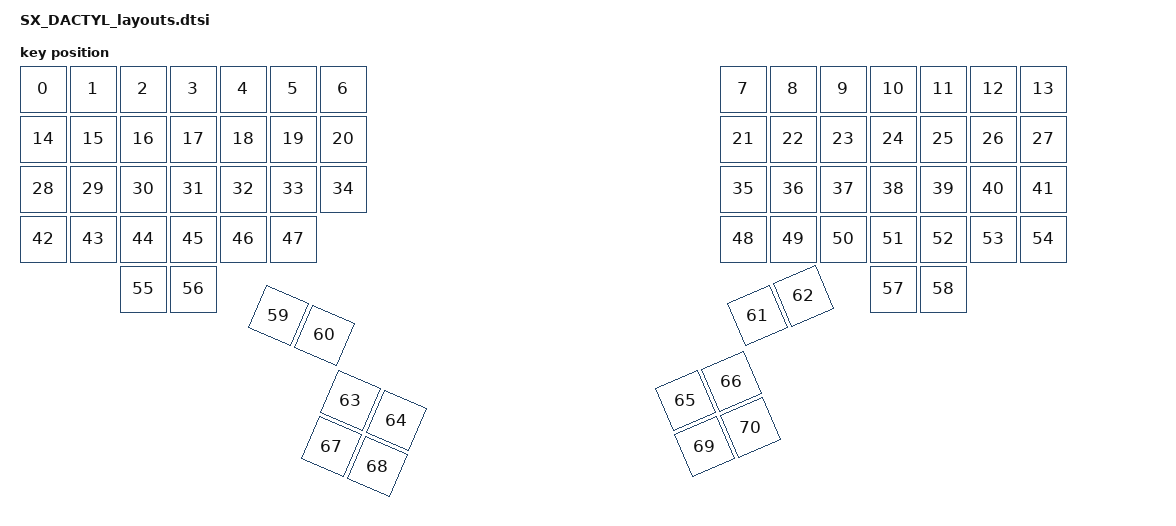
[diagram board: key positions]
#include <physical_layouts.dtsi>

/ {
    default_layout: default_layout {
        compatible = "zmk,physical-layout";
        display-name = "Default Layout";
        transform = <&default_transform>;
        kscan = <&kscan0>;
        keys
            // --- ROW 0 (Left LK1-LK7, Right RK7-RK1) ---
            = <&key_physical_attrs 100 100    0   0    0 0 0> // LK1
            , <&key_physical_attrs 100 100  100   0    0 0 0> // LK2
            , <&key_physical_attrs 100 100  200   0    0 0 0> // LK3
            , <&key_physical_attrs 100 100  300   0    0 0 0> // LK4
            , <&key_physical_attrs 100 100  400   0    0 0 0> // LK5
            , <&key_physical_attrs 100 100  500   0    0 0 0> // LK6
            , <&key_physical_attrs 100 100  600   0    0 0 0> // LK7
            , <&key_physical_attrs 100 100 1400   0    0 0 0> // RK7
            , <&key_physical_attrs 100 100 1500   0    0 0 0> // RK6
            , <&key_physical_attrs 100 100 1600   0    0 0 0> // RK5
            , <&key_physical_attrs 100 100 1700   0    0 0 0> // RK4
            , <&key_physical_attrs 100 100 1800   0    0 0 0> // RK3
            , <&key_physical_attrs 100 100 1900   0    0 0 0> // RK2
            , <&key_physical_attrs 100 100 2000   0    0 0 0> // RK1

            // --- ROW 1 (Left LK8-LK14, Right RK14-RK8) ---
            , <&key_physical_attrs 100 100    0 100    0 0 0> // LK8
            , <&key_physical_attrs 100 100  100 100    0 0 0> // LK9
            , <&key_physical_attrs 100 100  200 100    0 0 0> // LK10
            , <&key_physical_attrs 100 100  300 100    0 0 0> // LK11
            , <&key_physical_attrs 100 100  400 100    0 0 0> // LK12
            , <&key_physical_attrs 100 100  500 100    0 0 0> // LK13
            , <&key_physical_attrs 100 100  600 100    0 0 0> // LK14
            , <&key_physical_attrs 100 100 1400 100    0 0 0> // RK14
            , <&key_physical_attrs 100 100 1500 100    0 0 0> // RK13
            , <&key_physical_attrs 100 100 1600 100    0 0 0> // RK12
            , <&key_physical_attrs 100 100 1700 100    0 0 0> // RK11
            , <&key_physical_attrs 100 100 1800 100    0 0 0> // RK10
            , <&key_physical_attrs 100 100 1900 100    0 0 0> // RK9
            , <&key_physical_attrs 100 100 2000 100    0 0 0> // RK8

            // --- ROW 2 (Left LK15-LK21, Right RK21-RK15) ---
            , <&key_physical_attrs 100 100    0 200    0 0 0> // LK15
            , <&key_physical_attrs 100 100  100 200    0 0 0> // LK16
            , <&key_physical_attrs 100 100  200 200    0 0 0> // LK17
            , <&key_physical_attrs 100 100  300 200    0 0 0> // LK18
            , <&key_physical_attrs 100 100  400 200    0 0 0> // LK19
            , <&key_physical_attrs 100 100  500 200    0 0 0> // LK20
            , <&key_physical_attrs 100 100  600 200    0 0 0> // LK21
            , <&key_physical_attrs 100 100 1400 200    0 0 0> // RK21
            , <&key_physical_attrs 100 100 1500 200    0 0 0> // RK20
            , <&key_physical_attrs 100 100 1600 200    0 0 0> // RK19
            , <&key_physical_attrs 100 100 1700 200    0 0 0> // RK18
            , <&key_physical_attrs 100 100 1800 200    0 0 0> // RK17
            , <&key_physical_attrs 100 100 1900 200    0 0 0> // RK16
            , <&key_physical_attrs 100 100 2000 200    0 0 0> // RK15

            // --- ROW 3 (Left LK22-LK27, Right RK28-RK22) ---
            , <&key_physical_attrs 100 100    0 300    0 0 0> // LK22
            , <&key_physical_attrs 100 100  100 300    0 0 0> // LK23
            , <&key_physical_attrs 100 100  200 300    0 0 0> // LK24
            , <&key_physical_attrs 100 100  300 300    0 0 0> // LK25
            , <&key_physical_attrs 100 100  400 300    0 0 0> // LK26
            , <&key_physical_attrs 100 100  500 300    0 0 0> // LK27
            , <&key_physical_attrs 100 100 1400 300    0 0 0> // RK28
            , <&key_physical_attrs 100 100 1500 300    0 0 0> // RK27
            , <&key_physical_attrs 100 100 1600 300    0 0 0> // RK26
            , <&key_physical_attrs 100 100 1700 300    0 0 0> // RK25
            , <&key_physical_attrs 100 100 1800 300    0 0 0> // RK24
            , <&key_physical_attrs 100 100 1900 300    0 0 0> // RK23
            , <&key_physical_attrs 100 100 2000 300    0 0 0> // RK22

            // --- ROW 4 (Thumb row: LK28-LK29, RK30-RK29) ---
            // Positioned at Y=400, no rotation.
            , <&key_physical_attrs 100 100  200 400    0 0 0> // LK28 (Pivot Point L)
            , <&key_physical_attrs 100 100  300 400    0 0 0> // LK29
            , <&key_physical_attrs 100 100 1700 400    0 0 0> // RK29
            , <&key_physical_attrs 100 100 1800 400    0 0 0> // RK28 (Pivot Point R)

            
// --- ROW 5 (LK30-31 / RK31-30) ---
            , <&key_physical_attrs 100 100  400 500 2300 600 700> // LK30
            , <&key_physical_attrs 100 100  500 500 2300 600 700> // LK31
            , <&key_physical_attrs 100 100 1500 500 (-2300) 1400 700> // RK31
            , <&key_physical_attrs 100 100 1600 500 (-2300) 1400 700> // RK30

            // --- ROW 6 (LK32-33 / RK33-32) ---
            , <&key_physical_attrs 100 100  600 600 2300 600 700> // LK32
            , <&key_physical_attrs 100 100  700 600 2300 600 700> // LK33
            , <&key_physical_attrs 100 100  1300 600 (-2300) 1400 700> // RK33
            , <&key_physical_attrs 100 100  1400 600 (-2300) 1400 700> // RK32

            // --- ROW 7 (LK34-35 / RK35-34) ---
            , <&key_physical_attrs 100 100  600 700 2300 600 700> // LK34
            , <&key_physical_attrs 100 100  700 700 2300 600 700> // LK35
            , <&key_physical_attrs 100 100  1300 700 (-2300) 1400 700> // RK35
            , <&key_physical_attrs 100 100  1400 700 (-2300) 1400 700> // RK34
            ;
    };
};


